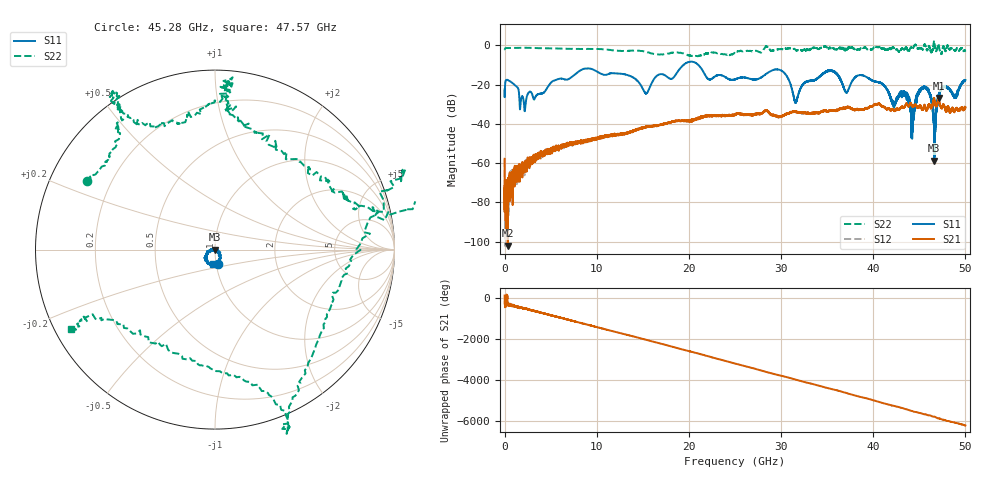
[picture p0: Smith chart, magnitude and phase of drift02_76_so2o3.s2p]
!Created with skrf (http://scikit-rf.org).
# Hz S RI R 50.0
!freq ReS11 ImS11 ReS21 ImS21 ReS12 ImS12 ReS22 ImS22
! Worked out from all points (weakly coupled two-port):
!   10001 points, 300 kHz to 50 GHz, reference 50 ohm
!   highest |S21| = -26.78 dB at 47.09 GHz (marker M1); lowest = -101.9 dB at 340.3 MHz (marker M2)
!   lowest |S11| = -58.7 dB at 46.63 GHz (marker M3), VSWR 1.00, Z = 50.1 - j0.0777 ohm
!   |S11| at or under -10 dB: start of sweep to 19.43 GHz; 21.01 GHz to end of sweep
!   |S22| runs from -5.7 to 2.4 dB; largest |S21 - S12| = 0.0034
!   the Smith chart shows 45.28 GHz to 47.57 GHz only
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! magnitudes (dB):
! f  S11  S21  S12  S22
! 300 kHz  -22.5  -57.8  -58.1  -2.0
! 340.3 MHz  -17.7  -101.9  -72.3  -1.4
! 2.18 GHz  -33.4  -63.5  -61.9  -1.3
! 8.335 GHz  -12.5  -49.8  -49.4  -1.9
! 13.5 GHz  -15.5  -44.5  -44.5  -2.8
! 15.34 GHz  -24.6  -41.6  -41.6  -3.3
! 16.67 GHz  -15.1  -40.8  -40.8  -4.7
! 20.3 GHz  -8.4  -38.3  -38.3  -5.6
! 25 GHz  -17.3  -35.3  -35.5  -3.9
! 29.85 GHz  -12.6  -36.4  -36.4  -2.0
! 31.59 GHz  -28.8  -33.7  -34.0  -2.4
! 33.34 GHz  -18.2  -34.7  -34.5  -1.5
! 35.58 GHz  -13.1  -33.2  -33.2  -1.6
! 37.1 GHz  -24.2  -31.8  -31.8  -2.4
! 38.76 GHz  -15.3  -32.6  -32.7  -0.9
! 41.67 GHz  -23.9  -32.3  -32.1  -1.9
! 43.49 GHz  -24.3  -30.8  -30.5  -1.5
! 44.27 GHz  -33.2  -31.2  -31.2  -1.4
! 45.74 GHz  -21.5  -33.1  -32.8  -1.4
! 46.63 GHz  -58.7  -27.5  -27.5  1.6
! 47.09 GHz  -26.6  -26.8  -27.1  0.7
! 50 GHz  -17.7  -31.6  -31.5  -2.7
